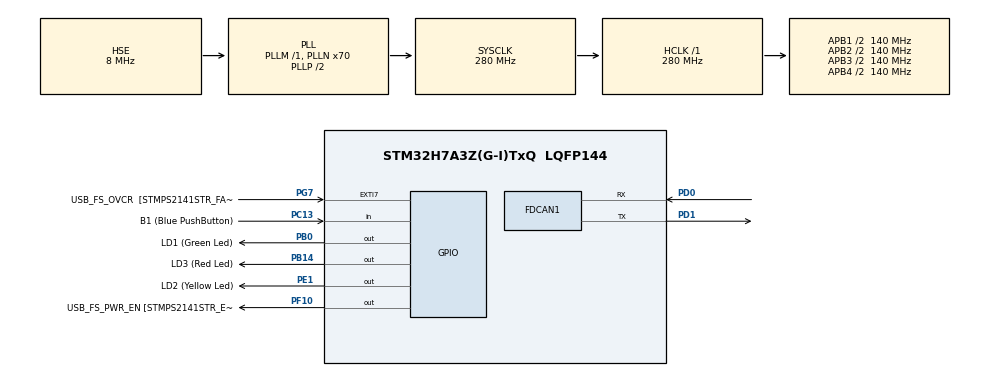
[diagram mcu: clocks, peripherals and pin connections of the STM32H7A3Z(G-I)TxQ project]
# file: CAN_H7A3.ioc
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FDCAN1.AutoRetransmission=ENABLE
FDCAN1.DataPrescaler=7
FDCAN1.DataSyncJumpWidth=8
FDCAN1.DataTimeSeg1=31
FDCAN1.DataTimeSeg2=8
FDCAN1.ExtFiltersNbr=1
FDCAN1.Mode=FDCAN_MODE_NORMAL
FDCAN1.NominalPrescaler=7
FDCAN1.NominalSyncJumpWidth=8
FDCAN1.NominalTimeSeg1=31
FDCAN1.NominalTimeSeg2=8
FDCAN1.ProtocolException=ENABLE
FDCAN1.RxBuffersNbr=1
FDCAN1.RxFifo0ElmtsNbr=1
FDCAN1.RxFifo1ElmtsNbr=2
FDCAN1.StdFiltersNbr=1
FDCAN1.TxBuffersNbr=1
FDCAN1.TxEventsNbr=2
FDCAN1.TxFifoQueueElmtsNbr=2
Mcu.Family=STM32H7
Mcu.Name=STM32H7A3Z(G-I)TxQ
Mcu.Package=LQFP144
NVIC.FDCAN1_IT0_IRQn=true\:0\:0\:false\:false\:true\:true\:true
NVIC.FDCAN1_IT1_IRQn=true\:0\:0\:false\:false\:true\:true\:true
NVIC.PriorityGroup=NVIC_PRIORITYGROUP_4
PA10.GPIO_Label=USB_FS_ID [ZX62RD-AB-5P8_ID]
PA10.Signal=USB_OTG_HS_ID
PA11.GPIO_Label=USB_FS_N [USBLC6-2SC6_IO_1]
PA11.Signal=USB_OTG_HS_DM
PA12.GPIO_Label=USB_FS_P [USBLC6-2SC6_IO_2]
PA12.Signal=USB_OTG_HS_DP
PA9.GPIO_Label=USB_FS_VBUS  [ZX62RD-AB-5P8_VBUS]
PA9.Signal=USB_OTG_HS_VBUS
PB0.GPIO_Label=LD1 (Green Led)
PB0.Signal=GPIO_Output
PB14.GPIO_Label=LD3 (Red Led)
PB14.Signal=GPIO_Output
PC13.GPIO_Label=B1 (Blue PushButton)
PC13.Signal=GPIO_Input
PC14-OSC32_IN.GPIO_Label=OSC32_IN
PC14-OSC32_IN.Signal=RCC_OSC32_IN
PC15-OSC32_OUT.GPIO_Label=OSC32_OUT
PC15-OSC32_OUT.Signal=RCC_OSC32_OUT
PD0.Mode=FDCAN_Activate
PD0.Signal=FDCAN1_RX
PD1.GPIO_Speed=GPIO_SPEED_FREQ_HIGH
PD1.Mode=FDCAN_Activate
PD1.Signal=FDCAN1_TX
PD8.GPIO_Label=STLINK_RX
PD8.Signal=USART3_TX
PD9.GPIO_Label=STLINK_TX
PD9.Signal=USART3_RX
PE1.GPIO_Label=LD2 (Yellow Led)
PE1.Signal=GPIO_Output
PF10.GPIO_Label=USB_FS_PWR_EN [STMPS2141STR_EN]
PF10.Signal=GPIO_Output
PG7.GPIO_Label=USB_FS_OVCR  [STMPS2141STR_FAULT]
PG7.Signal=GPXTI7
PH0-OSC_IN.GPIO_Label=PH0-MCU
PH0-OSC_IN.Mode=HSE-External-Oscillator
PH0-OSC_IN.Signal=RCC_OSC_IN
PH1-OSC_OUT.GPIO_Label=PH1-MCU
PH1-OSC_OUT.Mode=HSE-External-Oscillator
PH1-OSC_OUT.Signal=RCC_OSC_OUT
ProjectManager.HeapSize=0x200
ProjectManager.StackSize=0x400
ProjectManager.TargetToolchain=STM32CubeIDE
RCC.ADCFreq_Value=16125000
RCC.APB1Freq_Value=140000000
RCC.APB2Freq_Value=140000000
RCC.APB3Freq_Value=140000000
RCC.APB4Freq_Value=140000000
RCC.CDPPRE=RCC_APB3_DIV2
RCC.CDPPRE1=RCC_APB1_DIV2
RCC.CDPPRE2=RCC_APB2_DIV2
RCC.CortexFreq_Value=280000000
RCC.DIVM1=1
RCC.DIVM3=1
RCC.DIVN1=70
RCC.DIVN3=24
RCC.DIVQ1=4
RCC.HCLKFreq_Value=280000000
RCC.HSE_VALUE=8000000
RCC.PLL2FRACN=0
RCC.PLL3FRACN=0
RCC.PLLFRACN=0
RCC.PLLSourceVirtual=RCC_PLLSOURCE_HSE
RCC.PREFETCH_ENABLE=1
RCC.SRDPPRE=RCC_APB4_DIV2
RCC.SYSCLKFreq_VALUE=280000000
RCC.SYSCLKSource=RCC_SYSCLKSOURCE_PLLCLK
RCC.SupplySource=PWR_DIRECT_SMPS_SUPPLY
RCC.USBCLockSelection=RCC_USBCLKSOURCE_HSI48
RCC.USBFreq_Value=48000000
board=NUCLEO-H7A3ZI-Q

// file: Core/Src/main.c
/* USER CODE BEGIN Header */
/**
  ******************************************************************************
  * @file           : main.c
  * @brief          : Main program body
  ******************************************************************************
  * @attention
  *
  * Copyright (c) 2022 STMicroelectronics.
  * All rights reserved.
  *
  * This software is licensed under terms that can be found in the LICENSE file
  * in the root directory of this software component.
  * If no LICENSE file comes with this software, it is provided AS-IS.
  *
  ******************************************************************************
  */
/* USER CODE END Header */
#include "main.h"

FDCAN_HandleTypeDef hfdcan1;

/* USER CODE BEGIN PV */
FDCAN_TxHeaderTypeDef TxHeader;
FDCAN_RxHeaderTypeDef RxHeader;
uint16_t TxData[4] = {0, 0, 0, 0};
uint16_t RxData[4] = {0, 0, 0, 0};
FDCAN_FilterTypeDef sFilterConfig;
//uint16_t RxData[4] = {0, 0, 0, 0};
/* USER CODE END PV */

void SystemClock_Config(void);
static void MX_GPIO_Init(void);
static void MX_FDCAN1_Init(void);
/* USER CODE BEGIN PFP */
static uint32_t BufferCmp8b(uint8_t* pBuffer1, uint8_t* pBuffer2, uint16_t BufferLength);
/* USER CODE END PFP */

int main(void)
{

  /* MCU Configuration--------------------------------------------------------*/

  /* Reset of all peripherals, Initializes the Flash interface and the Systick. */
  HAL_Init();

  /* Configure the system clock */
  SystemClock_Config();

  /* Initialize all configured peripherals */
  MX_GPIO_Init();
  MX_FDCAN1_Init();
  /* USER CODE BEGIN 2 */

  // CAN filter parameters
  sFilterConfig.IdType = FDCAN_STANDARD_ID;
  sFilterConfig.FilterIndex = 0;
  sFilterConfig.FilterType = FDCAN_FILTER_DUAL;
  sFilterConfig.FilterConfig = FDCAN_FILTER_TO_RXFIFO0;
  sFilterConfig.FilterID1 = 123;
  sFilterConfig.FilterID2 = 123;
  sFilterConfig.RxBufferIndex = 0;
  sFilterConfig.IsCalibrationMsg = 0;

  // CAN TX header parameters
  TxHeader.Identifier = 456;
  TxHeader.IdType = FDCAN_STANDARD_ID;
  TxHeader.TxFrameType = FDCAN_DATA_FRAME;
  TxHeader.DataLength = FDCAN_DLC_BYTES_8;
  TxHeader.ErrorStateIndicator = FDCAN_ESI_PASSIVE;
  TxHeader.BitRateSwitch = FDCAN_BRS_OFF;
  TxHeader.FDFormat = FDCAN_CLASSIC_CAN;
  TxHeader.TxEventFifoControl = FDCAN_NO_TX_EVENTS;
  TxHeader.MessageMarker = 0x0;

	// apply CAN filter configuration
	if (HAL_FDCAN_ConfigFilter(&hfdcan1, &sFilterConfig) != HAL_OK)
	{
	  /* Filter configuration Error */
	  Error_Handler();
	}

	// start CAN bus operation
	if (HAL_FDCAN_Start(&hfdcan1) != HAL_OK)
	{
	  /* Start Error */
	  Error_Handler();
	}

	HAL_FDCAN_ActivateNotification(&hfdcan1, FDCAN_IT_RX_FIFO0_NEW_MESSAGE, 0);

	TxData[0] = 12;
	TxData[1] = 34;
	TxData[2] = 56;
	TxData[3] = 78;

  /* USER CODE END 2 */

  /* Infinite loop */
  while (1)
  {

    /* USER CODE BEGIN 3 */
    if (HAL_FDCAN_AddMessageToTxFifoQ(&hfdcan1, &TxHeader, (uint8_t *) TxData) != HAL_OK) {
		Error_Handler();
	}
	HAL_Delay(1000);
  }
  /* USER CODE END 3 */
}

void SystemClock_Config(void)
{
  RCC_OscInitTypeDef RCC_OscInitStruct = {0};
  RCC_ClkInitTypeDef RCC_ClkInitStruct = {0};

  /** Supply configuration update enable
  */
  HAL_PWREx_ConfigSupply(PWR_DIRECT_SMPS_SUPPLY);
  /** Configure the main internal regulator output voltage
  */
  __HAL_PWR_VOLTAGESCALING_CONFIG(PWR_REGULATOR_VOLTAGE_SCALE0);

  while(!__HAL_PWR_GET_FLAG(PWR_FLAG_VOSRDY)) {}
  /** Initializes the RCC Oscillators according to the specified parameters
  * in the RCC_OscInitTypeDef structure.
  */
  RCC_OscInitStruct.OscillatorType = RCC_OSCILLATORTYPE_HSE;
  RCC_OscInitStruct.HSEState = RCC_HSE_ON;
  RCC_OscInitStruct.PLL.PLLState = RCC_PLL_ON;
  RCC_OscInitStruct.PLL.PLLSource = RCC_PLLSOURCE_HSE;
  RCC_OscInitStruct.PLL.PLLM = 1;
  RCC_OscInitStruct.PLL.PLLN = 70;
  RCC_OscInitStruct.PLL.PLLP = 2;
  RCC_OscInitStruct.PLL.PLLQ = 4;
  RCC_OscInitStruct.PLL.PLLR = 2;
  RCC_OscInitStruct.PLL.PLLRGE = RCC_PLL1VCIRANGE_3;
  RCC_OscInitStruct.PLL.PLLVCOSEL = RCC_PLL1VCOWIDE;
  RCC_OscInitStruct.PLL.PLLFRACN = 0;
  if (HAL_RCC_OscConfig(&RCC_OscInitStruct) != HAL_OK)
  {
    Error_Handler();
  }
  /** Initializes the CPU, AHB and APB buses clocks
  */
  RCC_ClkInitStruct.ClockType = RCC_CLOCKTYPE_HCLK|RCC_CLOCKTYPE_SYSCLK
                              |RCC_CLOCKTYPE_PCLK1|RCC_CLOCKTYPE_PCLK2
                              |RCC_CLOCKTYPE_D3PCLK1|RCC_CLOCKTYPE_D1PCLK1;
  RCC_ClkInitStruct.SYSCLKSource = RCC_SYSCLKSOURCE_PLLCLK;
  RCC_ClkInitStruct.SYSCLKDivider = RCC_SYSCLK_DIV1;
  RCC_ClkInitStruct.AHBCLKDivider = RCC_HCLK_DIV1;
  RCC_ClkInitStruct.APB3CLKDivider = RCC_APB3_DIV2;
  RCC_ClkInitStruct.APB1CLKDivider = RCC_APB1_DIV2;
  RCC_ClkInitStruct.APB2CLKDivider = RCC_APB2_DIV2;
  RCC_ClkInitStruct.APB4CLKDivider = RCC_APB4_DIV2;

  if (HAL_RCC_ClockConfig(&RCC_ClkInitStruct, FLASH_LATENCY_7) != HAL_OK)
  {
    Error_Handler();
  }
}

static void MX_FDCAN1_Init(void)
{

  hfdcan1.Instance = FDCAN1;
  hfdcan1.Init.FrameFormat = FDCAN_FRAME_CLASSIC;
  hfdcan1.Init.Mode = FDCAN_MODE_NORMAL;
  hfdcan1.Init.AutoRetransmission = ENABLE;
  hfdcan1.Init.TransmitPause = DISABLE;
  hfdcan1.Init.ProtocolException = ENABLE;
  hfdcan1.Init.NominalPrescaler = 7;
  hfdcan1.Init.NominalSyncJumpWidth = 8;
  hfdcan1.Init.NominalTimeSeg1 = 31;
  hfdcan1.Init.NominalTimeSeg2 = 8;
  hfdcan1.Init.DataPrescaler = 7;
  hfdcan1.Init.DataSyncJumpWidth = 8;
  hfdcan1.Init.DataTimeSeg1 = 31;
  hfdcan1.Init.DataTimeSeg2 = 8;
  hfdcan1.Init.MessageRAMOffset = 0;
  hfdcan1.Init.StdFiltersNbr = 1;
  hfdcan1.Init.ExtFiltersNbr = 1;
  hfdcan1.Init.RxFifo0ElmtsNbr = 1;
  hfdcan1.Init.RxFifo0ElmtSize = FDCAN_DATA_BYTES_8;
  hfdcan1.Init.RxFifo1ElmtsNbr = 2;
  hfdcan1.Init.RxFifo1ElmtSize = FDCAN_DATA_BYTES_8;
  hfdcan1.Init.RxBuffersNbr = 1;
  hfdcan1.Init.RxBufferSize = FDCAN_DATA_BYTES_8;
  hfdcan1.Init.TxEventsNbr = 2;
  hfdcan1.Init.TxBuffersNbr = 1;
  hfdcan1.Init.TxFifoQueueElmtsNbr = 2;
  hfdcan1.Init.TxFifoQueueMode = FDCAN_TX_FIFO_OPERATION;
  hfdcan1.Init.TxElmtSize = FDCAN_DATA_BYTES_8;
  if (HAL_FDCAN_Init(&hfdcan1) != HAL_OK)
  {
    Error_Handler();
  }

}

static void MX_GPIO_Init(void)
{
  GPIO_InitTypeDef GPIO_InitStruct = {0};

  /* GPIO Ports Clock Enable */
  __HAL_RCC_GPIOC_CLK_ENABLE();
  __HAL_RCC_GPIOF_CLK_ENABLE();
  __HAL_RCC_GPIOH_CLK_ENABLE();
  __HAL_RCC_GPIOB_CLK_ENABLE();
  __HAL_RCC_GPIOD_CLK_ENABLE();
  __HAL_RCC_GPIOG_CLK_ENABLE();
  __HAL_RCC_GPIOA_CLK_ENABLE();
  __HAL_RCC_GPIOE_CLK_ENABLE();

  /*Configure GPIO pin Output Level */
  HAL_GPIO_WritePin(USB_FS_PWR_EN_GPIO_Port, USB_FS_PWR_EN_Pin, GPIO_PIN_RESET);

  /*Configure GPIO pin Output Level */
  HAL_GPIO_WritePin(GPIOB, LD1_Pin|LD3_Pin, GPIO_PIN_RESET);

  /*Configure GPIO pin Output Level */
  HAL_GPIO_WritePin(LD2_GPIO_Port, LD2_Pin, GPIO_PIN_RESET);

  /*Configure GPIO pin : B1_Pin */
  GPIO_InitStruct.Pin = B1_Pin;
  GPIO_InitStruct.Mode = GPIO_MODE_INPUT;
  GPIO_InitStruct.Pull = GPIO_NOPULL;
  HAL_GPIO_Init(B1_GPIO_Port, &GPIO_InitStruct);

  /*Configure GPIO pin : USB_FS_PWR_EN_Pin */
  GPIO_InitStruct.Pin = USB_FS_PWR_EN_Pin;
  GPIO_InitStruct.Mode = GPIO_MODE_OUTPUT_PP;
  GPIO_InitStruct.Pull = GPIO_NOPULL;
  GPIO_InitStruct.Speed = GPIO_SPEED_FREQ_LOW;
  HAL_GPIO_Init(USB_FS_PWR_EN_GPIO_Port, &GPIO_InitStruct);

  /*Configure GPIO pins : LD1_Pin LD3_Pin */
  GPIO_InitStruct.Pin = LD1_Pin|LD3_Pin;
  GPIO_InitStruct.Mode = GPIO_MODE_OUTPUT_PP;
  GPIO_InitStruct.Pull = GPIO_NOPULL;
  GPIO_InitStruct.Speed = GPIO_SPEED_FREQ_LOW;
  HAL_GPIO_Init(GPIOB, &GPIO_InitStruct);

  /*Configure GPIO pins : STLINK_RX_Pin STLINK_TX_Pin */
  GPIO_InitStruct.Pin = STLINK_RX_Pin|STLINK_TX_Pin;
  GPIO_InitStruct.Mode = GPIO_MODE_AF_PP;
  GPIO_InitStruct.Pull = GPIO_NOPULL;
  GPIO_InitStruct.Speed = GPIO_SPEED_FREQ_LOW;
  GPIO_InitStruct.Alternate = GPIO_AF7_USART3;
  HAL_GPIO_Init(GPIOD, &GPIO_InitStruct);

  /*Configure GPIO pin : USB_FS_OVCR_Pin */
  GPIO_InitStruct.Pin = USB_FS_OVCR_Pin;
  GPIO_InitStruct.Mode = GPIO_MODE_IT_RISING;
  GPIO_InitStruct.Pull = GPIO_NOPULL;
  HAL_GPIO_Init(USB_FS_OVCR_GPIO_Port, &GPIO_InitStruct);

  /*Configure GPIO pin : USB_FS_ID_Pin */
  GPIO_InitStruct.Pin = USB_FS_ID_Pin;
  GPIO_InitStruct.Mode = GPIO_MODE_AF_PP;
  GPIO_InitStruct.Pull = GPIO_NOPULL;
  GPIO_InitStruct.Speed = GPIO_SPEED_FREQ_LOW;
  GPIO_InitStruct.Alternate = GPIO_AF10_OTG1_HS;
  HAL_GPIO_Init(USB_FS_ID_GPIO_Port, &GPIO_InitStruct);

  /*Configure GPIO pins : USB_FS_N_Pin USB_FS_P_Pin */
  GPIO_InitStruct.Pin = USB_FS_N_Pin|USB_FS_P_Pin;
  GPIO_InitStruct.Mode = GPIO_MODE_AF_PP;
  GPIO_InitStruct.Pull = GPIO_NOPULL;
  GPIO_InitStruct.Speed = GPIO_SPEED_FREQ_LOW;
  HAL_GPIO_Init(GPIOA, &GPIO_InitStruct);

  /*Configure GPIO pin : LD2_Pin */
  GPIO_InitStruct.Pin = LD2_Pin;
  GPIO_InitStruct.Mode = GPIO_MODE_OUTPUT_PP;
  GPIO_InitStruct.Pull = GPIO_NOPULL;
  GPIO_InitStruct.Speed = GPIO_SPEED_FREQ_LOW;
  HAL_GPIO_Init(LD2_GPIO_Port, &GPIO_InitStruct);

}

/* USER CODE BEGIN 4 */

void HAL_FDCAN_RxFifo0Callback(FDCAN_HandleTypeDef *hcan, uint32_t RxFifo0ITs)
{
	HAL_FDCAN_GetRxMessage(hcan, FDCAN_RX_FIFO0, &RxHeader, (uint8_t *) RxData);
	if (BufferCmp8b((uint8_t*)TxData, (uint8_t*)RxData, 8) == 0) {
		HAL_GPIO_TogglePin(LD3_GPIO_Port, LD3_Pin);
	}
}

static uint32_t BufferCmp8b(uint8_t* pBuffer1, uint8_t* pBuffer2, uint16_t BufferLength)
{
  while(BufferLength--)
  {
    if(*pBuffer1 != *pBuffer2)
    {
      return 1;
    }

    pBuffer1++;
    pBuffer2++;
  }
  return 0;
}

/* USER CODE END 4 */

void Error_Handler(void)
{
  __disable_irq();
  while (1)
  {
  }
}
